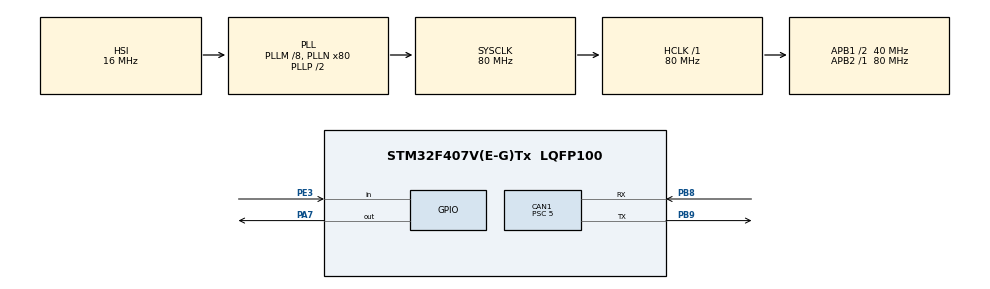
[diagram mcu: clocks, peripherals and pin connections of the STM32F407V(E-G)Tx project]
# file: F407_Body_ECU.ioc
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CAN1.BS1=CAN_BS1_13TQ
CAN1.BS2=CAN_BS2_2TQ
CAN1.CalculateBaudRate=500000
CAN1.CalculateTimeBit=2000
CAN1.CalculateTimeQuantum=125.0
CAN1.NART=ENABLE
CAN1.Prescaler=5
Mcu.Family=STM32F4
Mcu.Name=STM32F407V(E-G)Tx
Mcu.Package=LQFP100
NVIC.CAN1_RX0_IRQn=true\:0\:0\:false\:false\:true\:true\:true\:true
NVIC.PriorityGroup=NVIC_PRIORITYGROUP_4
PA13.Mode=Serial_Wire
PA13.Signal=SYS_JTMS-SWDIO
PA14.Mode=Serial_Wire
PA14.Signal=SYS_JTCK-SWCLK
PA7.PinState=GPIO_PIN_SET
PA7.Signal=GPIO_Output
PB8.Mode=CAN_Activate
PB8.Signal=CAN1_RX
PB9.Mode=CAN_Activate
PB9.Signal=CAN1_TX
PE3.Signal=GPIO_Input
PH0-OSC_IN.Mode=HSE-External-Oscillator
PH0-OSC_IN.Signal=RCC_OSC_IN
PH1-OSC_OUT.Mode=HSE-External-Oscillator
PH1-OSC_OUT.Signal=RCC_OSC_OUT
ProjectManager.HeapSize=0x200
ProjectManager.StackSize=0x400
ProjectManager.TargetToolchain=CMake
RCC.48MHZClocksFreq_Value=40000000
RCC.AHBFreq_Value=80000000
RCC.APB1CLKDivider=RCC_HCLK_DIV2
RCC.APB1Freq_Value=40000000
RCC.APB1TimFreq_Value=80000000
RCC.APB2Freq_Value=80000000
RCC.APB2TimFreq_Value=80000000
RCC.CortexFreq_Value=80000000
RCC.HCLKFreq_Value=80000000
RCC.HSE_VALUE=25000000
RCC.HSI_VALUE=16000000
RCC.LSE_VALUE=32768
RCC.PLLM=8
RCC.PLLN=80
RCC.SYSCLKFreq_VALUE=80000000
RCC.SYSCLKSource=RCC_SYSCLKSOURCE_PLLCLK
RCC.VCOOutputFreq_Value=160000000
board=custom

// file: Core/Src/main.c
/* USER CODE BEGIN Header */
/**
  ******************************************************************************
  * @file           : main.c
  * @brief          : Main program body
  ******************************************************************************
  * @attention
  *
  * Copyright (c) 2026 STMicroelectronics.
  * All rights reserved.
  *
  * This software is licensed under terms that can be found in the LICENSE file
  * in the root directory of this software component.
  * If no LICENSE file comes with this software, it is provided AS-IS.
  *
  ******************************************************************************
  */
/* USER CODE END Header */
#include "main.h"
#include "can.h"
#include "gpio.h"

/* USER CODE BEGIN Includes */
#include "body_control.h"
#include "can_app.h"
#include "DTC_manager.h"
#include "Fault_injection.h"
/* USER CODE END Includes */

/* USER CODE BEGIN PD */
/* 灯故障诊断每10 ms执行一次 */
#define DTC_CHECK_PERIOD_MS  10U
/* USER CODE END PD */

/* USER CODE BEGIN PV */
/* 保存上一次执行灯故障诊断的系统毫秒时间 */
static uint32_t last_dtc_check_ms = 0U;
/* USER CODE END PV */

void SystemClock_Config(void);

/* USER CODE BEGIN 0 */

/*
 * 当前工程时钟树（由下面的 SystemClock_Config() 配置）：
 *
 *   HSI 16 MHz
 *      -> PLLM = 8，得到 2 MHz
 *      -> PLLN = 80，得到 160 MHz
 *      -> PLLP = 2，得到 SYSCLK = 80 MHz
 *
 *   AHB  不分频：HCLK  = 80 MHz（CPU和存储器总线）
 *   APB1 2分频 ：PCLK1 = 40 MHz（CAN1使用该外设时钟）
 *   APB2 不分频：PCLK2 = 80 MHz
 *
 * CAN位时序的500 kbit/s计算依赖PCLK1=40 MHz；如果以后修改
 * 系统时钟或APB1分频，必须同时重新计算CAN的Prescaler/BS1/BS2。
 */

/* USER CODE END 0 */

int main(void)
{

  /* MCU Configuration--------------------------------------------------------*/

  /* Reset of all peripherals, Initializes the Flash interface and the Systick. */
  HAL_Init();

  /* Configure the system clock */
  SystemClock_Config();

  /* Initialize all configured peripherals */
  MX_GPIO_Init();
  MX_CAN1_Init();
  /* USER CODE BEGIN 2 */
  /*
   * 应用初始化顺序：
   * 1. GPIO和CAN1已由CubeMX生成的函数完成底层初始化；
   * 2. BodyControl_Init()建立执行器的安全初始状态；
   * 3. DTC_Manager_Init()初始化故障记录；
   * 4. CAN_App_Init()再启动CAN和接收中断。
   */

  /* 初始化车身执行器，上电默认关闭PA7车灯（PA7输出高电平） */
  BodyControl_Init();

  /* 初始化DTC状态和100样本统计窗口 */
  DTC_Manager_Init();
  last_dtc_check_ms = HAL_GetTick();

  /* 初始化CAN应用层：过滤器、CAN启动、帧头和接收中断通知 */
  if (CAN_App_Init(&hcan1) != HAL_OK)
  {
    Error_Handler();
  }
  /* USER CODE END 2 */

  /* Infinite loop */
  /* USER CODE BEGIN WHILE */
  while (1)
  {
    /* 读取KEY1并更新故障注入状态；按下时模拟车灯无法点亮 */
    FaultInjection_ProcessButton();
    uint32_t current_time_ms = HAL_GetTick();

    if ((uint32_t)(current_time_ms - last_dtc_check_ms) >=
        DTC_CHECK_PERIOD_MS)
    {
      /* 只记录当前真正读取到的一次结果，不补算已经错过的采样 */
      last_dtc_check_ms = current_time_ms;
      DTC_Manager_ReportTestResult(BodyControl_CheckLampFault());
    }
    /* USER CODE END WHILE */

    /* USER CODE BEGIN 3 */
    /*
     * 主循环只处理非紧急任务：执行中断暂存的命令、发送周期心跳。
     * CAN接收中断只负责快速取走并保存数据，避免在中断中操作GPIO
     * 或等待发送邮箱，从而缩短中断占用时间。
     */
    if (CAN_App_Process() != HAL_OK)
    {
      Error_Handler();
    }

    /* 主循环约每1 ms运行一次，避免空转占满CPU */
    HAL_Delay(1);
  }

  /* USER CODE END 3 */
}

void SystemClock_Config(void)
{
  RCC_OscInitTypeDef RCC_OscInitStruct = {0};
  RCC_ClkInitTypeDef RCC_ClkInitStruct = {0};

  /** Configure the main internal regulator output voltage
  */
  __HAL_RCC_PWR_CLK_ENABLE();
  __HAL_PWR_VOLTAGESCALING_CONFIG(PWR_REGULATOR_VOLTAGE_SCALE1);

  /** Initializes the RCC Oscillators according to the specified parameters
  * in the RCC_OscInitTypeDef structure.
  */
  RCC_OscInitStruct.OscillatorType = RCC_OSCILLATORTYPE_HSI;
  RCC_OscInitStruct.HSIState = RCC_HSI_ON;
  RCC_OscInitStruct.HSICalibrationValue = RCC_HSICALIBRATION_DEFAULT;
  RCC_OscInitStruct.PLL.PLLState = RCC_PLL_ON;
  RCC_OscInitStruct.PLL.PLLSource = RCC_PLLSOURCE_HSI;
  RCC_OscInitStruct.PLL.PLLM = 8;
  RCC_OscInitStruct.PLL.PLLN = 80;
  RCC_OscInitStruct.PLL.PLLP = RCC_PLLP_DIV2;
  RCC_OscInitStruct.PLL.PLLQ = 4;
  if (HAL_RCC_OscConfig(&RCC_OscInitStruct) != HAL_OK)
  {
    Error_Handler();
  }

  /** Initializes the CPU, AHB and APB buses clocks
  */
  RCC_ClkInitStruct.ClockType = RCC_CLOCKTYPE_HCLK|RCC_CLOCKTYPE_SYSCLK
                              |RCC_CLOCKTYPE_PCLK1|RCC_CLOCKTYPE_PCLK2;
  RCC_ClkInitStruct.SYSCLKSource = RCC_SYSCLKSOURCE_PLLCLK;
  RCC_ClkInitStruct.AHBCLKDivider = RCC_SYSCLK_DIV1;
  RCC_ClkInitStruct.APB1CLKDivider = RCC_HCLK_DIV2;
  RCC_ClkInitStruct.APB2CLKDivider = RCC_HCLK_DIV1;

  if (HAL_RCC_ClockConfig(&RCC_ClkInitStruct, FLASH_LATENCY_2) != HAL_OK)
  {
    Error_Handler();
  }
}

void Error_Handler(void)
{
  __disable_irq();
  while (1)
  {
  }
}
